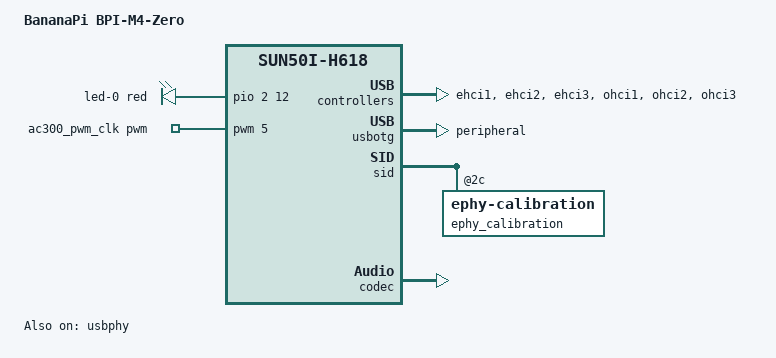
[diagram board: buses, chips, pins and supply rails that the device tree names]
// SPDX-License-Identifier: (GPL-2.0+ OR MIT)
/*
 * Copyright (c) 2025 Patrick Yavitz <pyavitz@armbian.com>
 */

/dts-v1/;

#include "sun50i-h618-bananapi-m4.dtsi"

/ {
        model = "BananaPi BPI-M4-Zero";
        compatible = "sinovoip,bpi-m4-zero", "allwinner,sun50i-h618";

        aliases {
                ethernet0 = &emac1;
                i2c0 = &i2c0;
                i2c1 = &i2c1;
                i2c3 = &i2c3;
                i2c4 = &i2c4;
                serial4 = &uart4;
                serial5 = &uart5;
                spi1 = &spi1;
        };

        leds {
                compatible = "gpio-leds";

                led-0 {
                        color = <LED_COLOR_ID_RED>;
                        function = LED_FUNCTION_STATUS;
                        gpios = <&pio 2 12 GPIO_ACTIVE_HIGH>;   /* PC12 */
                        linux,default-trigger = "heartbeat";
                };
        };

        ac300_pwm_clk: ac300-clk {
                compatible = "pwm-clock";
                #clock-cells = <0>;
                /* 500ns period -> 2MHz */
                pwms = <&pwm 5 500 0>;
                clock-frequency = <2000000>;
                status = "okay";
        };

};

/* Connected to an on-board RTL8821CU USB WiFi chip. */
&ehci1 {
        status = "okay";
};

&ehci2 {
        status = "okay";
};

&ehci3 {
        status = "okay";
};

&emac1 {
        compatible = "allwinner,sun50i-h616-internal-emac";
        pinctrl-names = "default";
        pinctrl-0 = <&rmii_pins>;
        phy-mode = "rmii";
        phy-handle = <&ac300_ephy>;
        phy-supply = <&reg_dldo1>;
        allwinner,rx-delay-ps = <3100>;
        allwinner,tx-delay-ps = <700>;
        status = "disabled";

        mdio-mux {
                compatible = "allwinner,sun8i-h3-mdio-mux";
                #address-cells = <1>;
                #size-cells = <0>;
                mdio-parent-bus = <&mdio1>;

                internal_mdio: mdio@1 {
                        compatible = "allwinner,sun8i-h3-mdio-internal";
                        reg = <1>;
                        #address-cells = <1>;
                        #size-cells = <0>;

                        ac300_ephy: ethernet-phy@0 {
                                compatible = "ethernet-phy-id0044.1400",
                                             "allwinner,sun50i-h618-ac300-ephy",
                                             "ethernet-phy-ieee802.3-c22";
                                reg = <0>;
                                clocks = <&ccu CLK_EMAC_25M>, <&ac300_pwm_clk>;
                                clock-names = "ephy", "pwm";
                                nvmem-cells = <&ephy_calibration>;
                                nvmem-cell-names = "calibration";
                                status = "okay";
                        };
                };
        };
};
/* SDIO */
&mmc1 {
        status = "disabled";
        bus-width = <4>;
        max-frequency = <100000000>;

        non-removable;
        disable-wp;

        /* WiFi firmware requires power to be kept while in suspend */
        keep-power-in-suspend;

        mmc-pwrseq = <&wifi_pwrseq>;

        cd-gpios = <&pio 6 15 GPIO_ACTIVE_HIGH>; /* PG15 */
        vmmc-supply = <&reg_vcc3v3>;

        sdio: wifi@1 {
                reg = <1>;
                compatible = "brcm,bcm4329-fmac";
        };
};

&ohci1 {
        status = "okay";
};

&ohci2 {
        status = "okay";
};

&ohci3 {
        status = "okay";
};

&usbotg {
        status = "okay";
        dr_mode = "peripheral";
};

&usbphy {
        status = "okay";
        usb1_vbus-supply = <&reg_usb_vbus>;
};

&sid {
        ephy_calibration: ephy-calibration@2c {
                reg = <0x2c 0x2>;
        };
};

&codec {
        allwinner,audio-routing = "Line Out", "LINEOUT";
        status = "okay";
};
